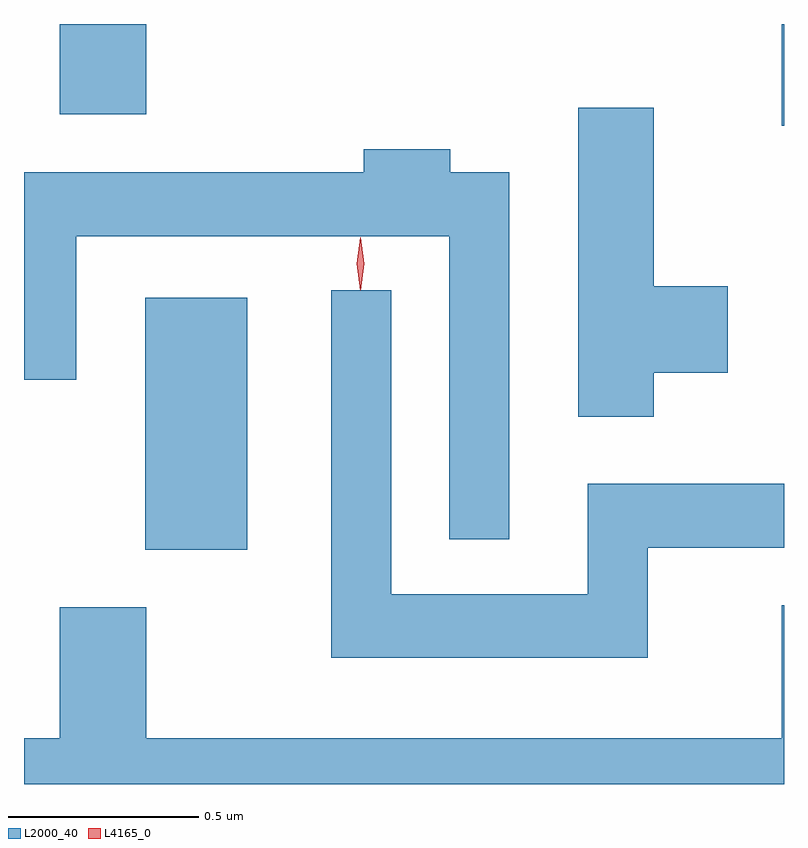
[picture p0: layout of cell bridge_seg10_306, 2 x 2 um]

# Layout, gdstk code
import gdstk
lib = gdstk.Library(unit=1e-6, precision=1e-09)
def R(c, l, rs):  # rectangles x0, y0, x1, y1
    for r in rs: c.add(gdstk.rectangle(r[:2], r[2:], *l))
def P(c, l, *ps):  # polygons
    for p in ps: c.add(gdstk.Polygon(p, *l))
L2000_40 = (2000, 40)
L4165_0 = (4165, 0)

bridge_seg10_306 = lib.new_cell('bridge_seg10_306')
R(bridge_seg10_306, L2000_40, [(1427.386,2203.481,1427.654,2204.144), (1429.061,2204.596,1429.067,2204.864), (1427.161,2204.626,1427.389,2204.864)])
P(bridge_seg10_306, L2000_40, [(1428.724,2203.946),(1428.919,2203.946),(1428.919,2204.174),(1428.724,2204.174),(1428.724,2204.644),(1428.526,2204.644),(1428.526,2203.831),(1428.724,2203.831)],
  [(1428.344,2204.474),(1428.189,2204.474),(1428.189,2204.534),(1427.961,2204.534),(1427.961,2204.474),(1427.067,2204.474),(1427.067,2203.928),(1427.204,2203.928),(1427.204,2204.306),(1428.186,2204.306),(1428.186,2203.508),(1428.344,2203.508)],
  [(1428.709,2203.486),(1429.067,2203.486),(1429.067,2203.654),(1428.551,2203.654),(1428.551,2203.364),(1428.034,2203.364),(1428.034,2204.163),(1427.876,2204.163),(1427.876,2203.196),(1428.709,2203.196)],
  [(1429.067,2203.334),(1429.061,2203.334),(1429.061,2202.984),(1427.389,2202.984),(1427.389,2203.329),(1427.161,2203.329),(1427.161,2202.984),(1427.067,2202.984),(1427.067,2202.864),(1429.067,2202.864)])
P(bridge_seg10_306, L4165_0, [(1427.952,2204.164),(1427.943,2204.233),(1427.952,2204.302),(1427.953,2204.303),(1427.953,2204.302),(1427.963,2204.233),(1427.953,2204.164),(1427.953,2204.164)])

lib.write_gds('bridge_seg10_306.gds')
